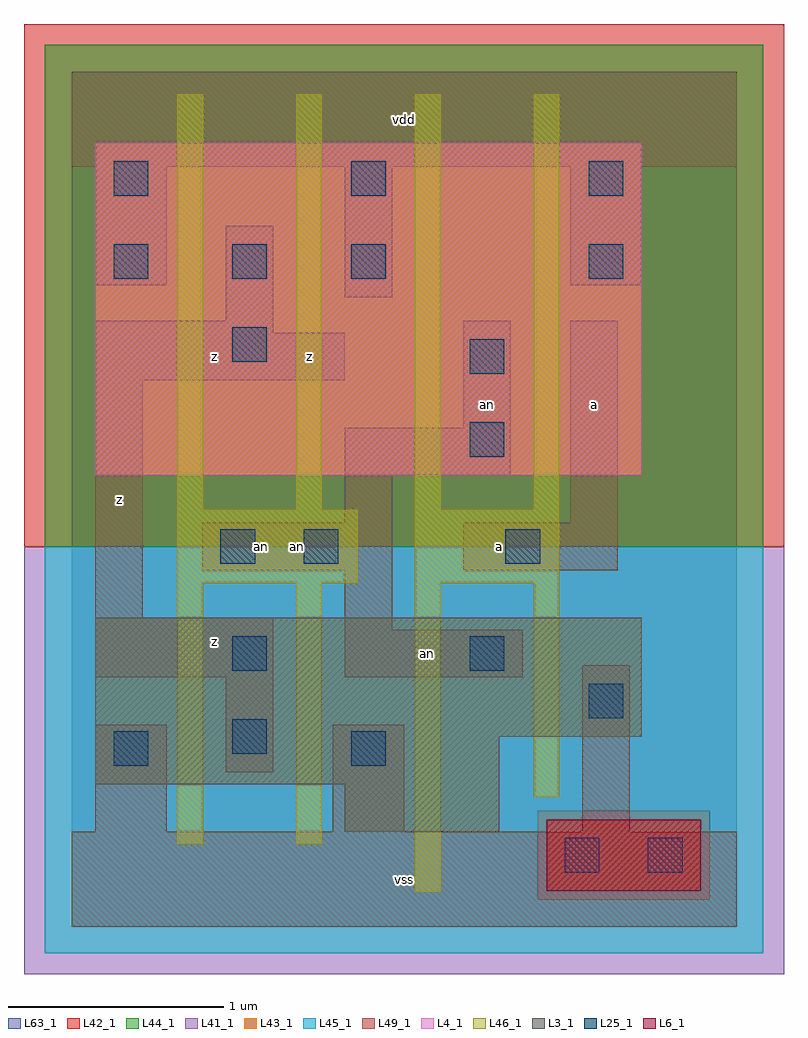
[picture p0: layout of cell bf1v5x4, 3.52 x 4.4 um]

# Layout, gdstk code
import gdstk
lib = gdstk.Library(unit=1e-6, precision=1e-09)
def R(c, l, rs):  # rectangles x0, y0, x1, y1
    for r in rs: c.add(gdstk.rectangle(r[:2], r[2:], *l))
def A(c, l, x, y, w, h, nx, ny, dx, dy):  # array of equal rectangles
    R(c, l, [(x+i*dx, y+j*dy, x+i*dx+w, y+j*dy+h) for i in range(nx) for j in range(ny)])
L3_1 = (3, 1)
L4_1 = (4, 1)
L6_1 = (6, 1)
L25_1 = (25, 1)
L41_1 = (41, 1)
L42_1 = (42, 1)
L43_1 = (43, 1)
L44_1 = (44, 1)
L45_1 = (45, 1)
L46_1 = (46, 1)
L49_1 = (49, 1)
L63_1 = (63, 1)

bf1v5x4 = lib.new_cell('bf1v5x4')
R(bf1v5x4, L3_1, [(1.265,0.44,1.98,0.66), (0.11,0.66,1.98,0.88), (0.11,0.88,2.64,1.43)])
R(bf1v5x4, L4_1, [(0.11,2.09,2.64,3.63)])
R(bf1v5x4, L6_1, [(2.2,0.165,2.915,0.495)])
A(bf1v5x4, L25_1, 0.195, 3, 0.16, 0.16, 3, 1, 0.55, 0)
A(bf1v5x4, L25_1, 0.195, 3.385, 0.16, 0.16, 3, 1, 1.1, 0)
R(bf1v5x4, L25_1, [(2.285,0.25,2.445,0.41), (2.67,0.25,2.83,0.41), (0.195,0.745,0.355,0.905), (1.295,0.745,1.455,0.905), (0.745,0.8,0.905,0.96), (2.395,0.965,2.555,1.125), (0.745,1.185,0.905,1.345), (1.845,1.185,2.005,1.345), (0.69,1.68,0.85,1.84), (1.075,1.68,1.235,1.84), (2.01,1.68,2.17,1.84), (1.845,2.175,2.005,2.335), (1.845,2.56,2.005,2.72), (0.745,2.615,0.905,2.775), (2.395,3,2.555,3.16)])
R(bf1v5x4, L41_1, [(-0.22,-0.22,3.3,1.76)])
R(bf1v5x4, L42_1, [(-0.22,1.76,3.3,4.18)])
R(bf1v5x4, L43_1, [(2.2,0.165,2.915,0.495), (1.265,0.44,1.98,0.66), (0.11,0.66,1.98,0.88), (0.11,0.88,2.64,1.43), (0.11,2.09,2.64,3.63)])
R(bf1v5x4, L44_1, [(2.16,0.125,2.955,0.535), (-0.125,1.76,3.205,4.085)])
R(bf1v5x4, L45_1, [(-0.125,-0.125,3.205,0.125), (-0.125,0.125,2.16,0.535), (2.955,0.125,3.205,0.535), (-0.125,0.535,3.205,1.76)])
A(bf1v5x4, L46_1, 0.49, 1.93, 0.12, 1.925, 4, 1, 0.55, 0)
R(bf1v5x4, L46_1, [(1.59,0.16,1.71,1.59), (0.49,0.38,0.61,1.59), (1.04,0.38,1.16,1.59), (2.14,0.6,2.26,1.59), (0.49,1.59,1.325,1.93), (1.59,1.59,2.26,1.93)])
R(bf1v5x4, L49_1, [(0,0,3.08,0.44), (0.11,0.44,0.44,0.935), (1.21,0.44,1.54,0.935), (2.365,0.44,2.585,1.21), (0.715,0.715,0.935,1.155), (0.11,1.155,0.935,1.43), (1.265,1.155,2.09,1.375), (1.265,1.375,1.485,1.65), (0.11,1.43,0.33,2.53), (0.605,1.65,1.485,1.87), (1.815,1.65,2.53,1.87), (1.265,1.87,1.485,2.09), (2.31,1.87,2.53,2.805), (1.265,2.09,2.035,2.31), (1.815,2.31,2.035,2.805), (0.11,2.53,1.265,2.75), (0.11,2.75,0.935,2.805), (0.715,2.805,0.935,3.245), (1.265,2.915,1.485,3.52), (0.11,2.97,0.44,3.52), (2.31,2.97,2.64,3.52), (0,3.52,3.08,3.96)])
R(bf1v5x4, L63_1, [(0,0,3.08,3.96)])
bf1v5x4.add(gdstk.Label('an', (0.88,1.76), layer=46, texttype=1))
bf1v5x4.add(gdstk.Label('z', (0.22,1.98), layer=49, texttype=1))
bf1v5x4.add(gdstk.Label('z', (0.66,1.32), layer=49, texttype=1))
bf1v5x4.add(gdstk.Label('an', (1.045,1.76), layer=49, texttype=1))
bf1v5x4.add(gdstk.Label('z', (0.66,2.64), layer=49, texttype=1))
bf1v5x4.add(gdstk.Label('z', (1.1,2.64), layer=49, texttype=1))
bf1v5x4.add(gdstk.Label('vss', (1.54,0.22), layer=49, texttype=1))
bf1v5x4.add(gdstk.Label('an', (1.65,1.265), layer=49, texttype=1))
bf1v5x4.add(gdstk.Label('a', (1.98,1.76), layer=49, texttype=1))
bf1v5x4.add(gdstk.Label('an', (1.925,2.42), layer=49, texttype=1))
bf1v5x4.add(gdstk.Label('vdd', (1.54,3.74), layer=49, texttype=1))
bf1v5x4.add(gdstk.Label('a', (2.42,2.42), layer=49, texttype=1))

lib.write_gds('bf1v5x4.gds')
